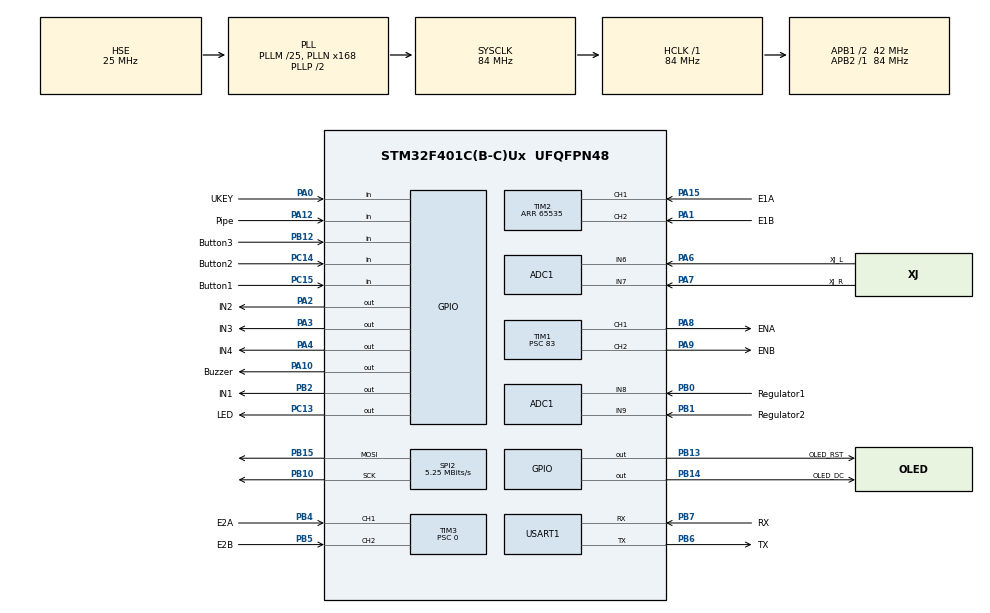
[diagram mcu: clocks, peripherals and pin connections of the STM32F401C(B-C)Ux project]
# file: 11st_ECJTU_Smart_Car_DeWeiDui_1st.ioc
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ADC1.Channel-0\#ChannelRegularConversion=ADC_CHANNEL_6
ADC1.Channel-1\#ChannelRegularConversion=ADC_CHANNEL_7
ADC1.Channel-2\#ChannelRegularConversion=ADC_CHANNEL_8
ADC1.Channel-3\#ChannelRegularConversion=ADC_CHANNEL_9
ADC1.ContinuousConvMode=ENABLE
ADC1.DMAContinuousRequests=ENABLE
ADC1.EOCSelection=ADC_EOC_SEQ_CONV
ADC1.NbrOfConversion=4
ADC1.NbrOfConversionFlag=1
ADC1.Rank-0\#ChannelRegularConversion=1
ADC1.Rank-1\#ChannelRegularConversion=2
ADC1.Rank-2\#ChannelRegularConversion=3
ADC1.Rank-3\#ChannelRegularConversion=4
ADC1.SamplingTime-0\#ChannelRegularConversion=ADC_SAMPLETIME_480CYCLES
ADC1.SamplingTime-1\#ChannelRegularConversion=ADC_SAMPLETIME_480CYCLES
ADC1.SamplingTime-2\#ChannelRegularConversion=ADC_SAMPLETIME_480CYCLES
ADC1.SamplingTime-3\#ChannelRegularConversion=ADC_SAMPLETIME_480CYCLES
ADC1.ScanConvMode=ENABLE
ADC1.master=1
Dma.ADC1.0.Direction=DMA_PERIPH_TO_MEMORY
Dma.ADC1.0.FIFOMode=DMA_FIFOMODE_DISABLE
Dma.ADC1.0.Instance=DMA2_Stream0
Dma.ADC1.0.MemDataAlignment=DMA_MDATAALIGN_WORD
Dma.ADC1.0.MemInc=DMA_MINC_ENABLE
Dma.ADC1.0.Mode=DMA_CIRCULAR
Dma.ADC1.0.PeriphDataAlignment=DMA_PDATAALIGN_WORD
Dma.ADC1.0.PeriphInc=DMA_PINC_DISABLE
Dma.ADC1.0.Priority=DMA_PRIORITY_LOW
Dma.Request0=ADC1
Dma.Request1=SPI2_TX
Dma.SPI2_TX.1.Direction=DMA_MEMORY_TO_PERIPH
Dma.SPI2_TX.1.FIFOMode=DMA_FIFOMODE_DISABLE
Dma.SPI2_TX.1.Instance=DMA1_Stream4
Dma.SPI2_TX.1.MemDataAlignment=DMA_MDATAALIGN_BYTE
Dma.SPI2_TX.1.MemInc=DMA_MINC_ENABLE
Dma.SPI2_TX.1.Mode=DMA_NORMAL
Dma.SPI2_TX.1.PeriphDataAlignment=DMA_PDATAALIGN_BYTE
Dma.SPI2_TX.1.PeriphInc=DMA_PINC_DISABLE
Dma.SPI2_TX.1.Priority=DMA_PRIORITY_LOW
Mcu.Family=STM32F4
Mcu.Name=STM32F401C(B-C)Ux
Mcu.Package=UFQFPN48
NVIC.DMA1_Stream4_IRQn=true\:0\:0\:false\:false\:true\:false\:true\:true
NVIC.DMA2_Stream0_IRQn=true\:0\:0\:false\:false\:true\:false\:true\:true
NVIC.PriorityGroup=NVIC_PRIORITYGROUP_4
NVIC.TIM2_IRQn=true\:2\:0\:true\:false\:true\:true\:true\:true
NVIC.TIM3_IRQn=true\:2\:0\:true\:false\:true\:true\:true\:true
NVIC.TIM4_IRQn=true\:1\:0\:true\:false\:true\:true\:true\:true
NVIC.TIM5_IRQn=true\:0\:0\:true\:false\:true\:true\:true\:true
PA0-WKUP.GPIO_Label=UKEY
PA0-WKUP.GPIO_PuPd=GPIO_PULLUP
PA0-WKUP.Signal=GPIO_Input
PA1.GPIO_Label=E1B
PA1.Signal=S_TIM2_CH2
PA10.GPIO_Label=Buzzer
PA10.PinState=GPIO_PIN_SET
PA10.Signal=GPIO_Output
PA12.GPIO_Label=Pipe
PA12.GPIO_PuPd=GPIO_PULLUP
PA12.Signal=GPIO_Input
PA13.Mode=Trace_Asynchronous_SW
PA13.Signal=SYS_JTMS-SWDIO
PA14.Mode=Trace_Asynchronous_SW
PA14.Signal=SYS_JTCK-SWCLK
PA15.GPIO_Label=E1A
PA15.Signal=S_TIM2_CH1_ETR
PA2.GPIO_Label=IN2
PA2.Signal=GPIO_Output
PA3.GPIO_Label=IN3
PA3.Signal=GPIO_Output
PA4.GPIO_Label=IN4
PA4.Signal=GPIO_Output
PA6.GPIO_Label=XJ_L
PA6.Signal=ADCx_IN6
PA7.GPIO_Label=XJ_R
PA7.Signal=ADCx_IN7
PA8.GPIO_Label=ENA
PA8.GPIO_Speed=GPIO_SPEED_FREQ_VERY_HIGH
PA8.Signal=S_TIM1_CH1
PA9.GPIO_Label=ENB
PA9.GPIO_Speed=GPIO_SPEED_FREQ_VERY_HIGH
PA9.Signal=S_TIM1_CH2
PB0.GPIO_Label=Regulator1
PB0.Signal=ADCx_IN8
PB1.GPIO_Label=Regulator2
PB1.Signal=ADCx_IN9
PB10.Mode=TX_Only_Simplex_Unidirect_Master
PB10.Signal=SPI2_SCK
PB12.GPIO_Label=Button3
PB12.GPIO_PuPd=GPIO_PULLDOWN
PB12.Signal=GPIO_Input
PB13.GPIO_Label=OLED_RST
PB13.PinState=GPIO_PIN_SET
PB13.Signal=GPIO_Output
PB14.GPIO_Label=OLED_DC
PB14.Signal=GPIO_Output
PB15.Mode=TX_Only_Simplex_Unidirect_Master
PB15.Signal=SPI2_MOSI
PB2.GPIO_Label=IN1
PB2.Signal=GPIO_Output
PB3.Mode=Trace_Asynchronous_SW
PB3.Signal=SYS_JTDO-SWO
PB4.GPIO_Label=E2A
PB4.Signal=S_TIM3_CH1
PB5.GPIO_Label=E2B
PB5.Signal=S_TIM3_CH2
PB6.GPIO_Label=TX
PB6.Mode=Asynchronous
PB6.Signal=USART1_TX
PB7.GPIO_Label=RX
PB7.Mode=Asynchronous
PB7.Signal=USART1_RX
PC13-ANTI_TAMP.GPIO_Label=LED
PC13-ANTI_TAMP.PinState=GPIO_PIN_SET
PC13-ANTI_TAMP.Signal=GPIO_Output
PC14-OSC32_IN.GPIO_Label=Button2
PC14-OSC32_IN.GPIO_PuPd=GPIO_PULLDOWN
PC14-OSC32_IN.Signal=GPIO_Input
PC15-OSC32_OUT.GPIO_Label=Button1
PC15-OSC32_OUT.GPIO_PuPd=GPIO_PULLDOWN
PC15-OSC32_OUT.Signal=GPIO_Input
PH0\ -\ OSC_IN.Mode=HSE-External-Oscillator
PH0\ -\ OSC_IN.Signal=RCC_OSC_IN
PH1\ -\ OSC_OUT.Mode=HSE-External-Oscillator
PH1\ -\ OSC_OUT.Signal=RCC_OSC_OUT
ProjectManager.HeapSize=0x200
ProjectManager.StackSize=0x400
ProjectManager.TargetToolchain=MDK-ARM V5.32
RCC.48MHZClocksFreq_Value=42000000
RCC.AHBFreq_Value=84000000
RCC.APB1CLKDivider=RCC_HCLK_DIV2
RCC.APB1Freq_Value=42000000
RCC.APB1TimFreq_Value=84000000
RCC.APB2Freq_Value=84000000
RCC.APB2TimFreq_Value=84000000
RCC.CortexFreq_Value=84000000
RCC.HCLKFreq_Value=84000000
RCC.HSE_VALUE=25000000
RCC.HSI_VALUE=16000000
RCC.LSE_VALUE=32768
RCC.PLLM=25
RCC.PLLN=168
RCC.PLLSourceVirtual=RCC_PLLSOURCE_HSE
RCC.SYSCLKFreq_VALUE=84000000
RCC.SYSCLKSource=RCC_SYSCLKSOURCE_PLLCLK
RCC.VCOOutputFreq_Value=168000000
SH.ADCx_IN6.0=ADC1_IN6,IN6
SH.ADCx_IN7.0=ADC1_IN7,IN7
SH.ADCx_IN8.0=ADC1_IN8,IN8
SH.ADCx_IN9.0=ADC1_IN9,IN9
SH.S_TIM1_CH1.0=TIM1_CH1,PWM Generation1 CH1
SH.S_TIM1_CH2.0=TIM1_CH2,PWM Generation2 CH2
SH.S_TIM2_CH1_ETR.0=TIM2_CH1,Encoder_Interface
SH.S_TIM2_CH2.0=TIM2_CH2,Encoder_Interface
SH.S_TIM3_CH1.0=TIM3_CH1,Encoder_Interface
SH.S_TIM3_CH2.0=TIM3_CH2,Encoder_Interface
SPI2.BaudRatePrescaler=SPI_BAUDRATEPRESCALER_8
SPI2.CalculateBaudRate=5.25 MBits/s
SPI2.Direction=SPI_DIRECTION_2LINES
SPI2.Mode=SPI_MODE_MASTER
SPI2.VirtualType=VM_MASTER
TIM1.AutoReloadPreload=TIM_AUTORELOAD_PRELOAD_ENABLE
TIM1.Channel-PWM\ Generation1\ CH1=TIM_CHANNEL_1
TIM1.Channel-PWM\ Generation2\ CH2=TIM_CHANNEL_2
TIM1.Period=999
TIM1.Prescaler=83
TIM2.AutoReloadPreload=TIM_AUTORELOAD_PRELOAD_ENABLE
TIM2.EncoderMode=TIM_ENCODERMODE_TI12
TIM2.IC1Filter=0
TIM2.IC1Prescaler=TIM_ICPSC_DIV1
TIM2.IC2Filter=0
TIM2.IC2Prescaler=TIM_ICPSC_DIV1
TIM2.Period=65535
TIM3.AutoReloadPreload=TIM_AUTORELOAD_PRELOAD_ENABLE
TIM3.Period=65535
TIM3.Prescaler=0
TIM4.AutoReloadPreload=TIM_AUTORELOAD_PRELOAD_ENABLE
TIM4.Period=99
TIM4.Prescaler=83
TIM5.AutoReloadPreload=TIM_AUTORELOAD_PRELOAD_ENABLE
TIM5.Period=999
TIM5.Prescaler=83
USART1.VirtualMode=VM_ASYNC
VP_TIM1_VS_ClockSourceINT.Mode=Internal
VP_TIM4_VS_ClockSourceINT.Mode=Internal
VP_TIM5_VS_ClockSourceINT.Mode=Internal
board=custom

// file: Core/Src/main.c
/* USER CODE BEGIN Header */
/**
  ******************************************************************************
  * @file           : main.c
  * @brief          : Main program body
  ******************************************************************************
  * @attention
  *
  * Copyright (c) 2022 STMicroelectronics.
  * All rights reserved.
  *
  * This software is licensed under terms that can be found in the LICENSE file
  * in the root directory of this software component.
  * If no LICENSE file comes with this software, it is provided AS-IS.
  *
  ******************************************************************************
  */
/* USER CODE END Header */
#include "main.h"
#include "adc.h"
#include "dma.h"
#include "spi.h"
#include "tim.h"
#include "usart.h"
#include "gpio.h"

/* USER CODE BEGIN Includes */
#include <stdio.h>
#include <stdlib.h>
#include <math.h>
#include "oled.h"	//只有一个OLED，所以片选CS管脚默认接地
/* USER CODE END Includes */

/* USER CODE BEGIN PV */
uint32_t Time_to_Stop=60000;//Car will stop 60000ms==60s after Run_Flag_Start.
float Kp = 3.98;
float Ki = 1.4;
float Kd = 0.6;
uint32_t t_ms_stop = 0;
uint16_t t_ms = 0;
uint16_t t_100us = 0;
uint16_t t_Run_Flag = 0,t_Debug_Flag = 0;
uint16_t oled_t_ms=0;
uint16_t t_500ms = 0;
int Timer = 0;			//时间
uint8_t speed = 0;		//当前PWM
short TargetSpeed = 10; //目标速度
volatile uint32_t ADC_Value[100];
uint8_t i;
uint8_t	Run_Flag=0,Run_Flag_Start=0,Debug_Flag=0,Debug_Flag_Start=0;
char buffer1[256] = {0};
char buffer2[256] = {0};
char buffer3[256] = {0};
char buffer4[256] = {0};
float XJ_L=0,XJ_R=0,Regulator1=0,Regulator2=0;
int iButtonCount_UKEY;//i代表int型变量，ButtonCount表示按键计数变量
int iButtonCount_Button1,iButtonCount_Button2,iButtonCount_Button3;
int iButtonFlag_UKEY;//i代表int型变量，ButtonFlag表示重按键标志，1代表重新按键，0为没有重新按键
int iButtonFlag_Button1,iButtonFlag_Button2,iButtonFlag_Button3,OLED_RST_Flag=1,OLED_Refresh=0;
int g_iButtonState_UKEY=0;//g是globle代表全局变量，会在其他地方引用；i代表int型变量，ButtonState表示按键标志，1代表按下，0代表松开
int g_iButtonState_Button1=0,g_iButtonState_Button2=0,g_iButtonState_Button3=0;

/* USER CODE END PV */

void SystemClock_Config(void);

/* USER CODE BEGIN 0 */
void motor_pwm(uint8_t motor,int16_t pwm);
void motor_1khz(int16_t motor_L,int16_t motor_R);

//加入以下代码,支持printf函数,而不需要选择use MicroLIB
#if 1
#pragma import(__use_no_semihosting)
//use assert() with HAL
int _ttywrch(int ch)
{
    ch=ch;
 return ch;
}
//support stdio.h
struct __FILE
{
 int handle;
};
/* FILE is typedef'd in stdio.h */
FILE __stdout;
//定义_sys_exit()以避免使用半主机模式
void _sys_exit(int x)
{
 x = x;
}
//重定义fputc函数 with HAL
int fputc(int ch, FILE *f)//重定向printf到UART
{
 HAL_UART_Transmit(&huart1, (uint8_t *)&ch, 1, 0xFFFF);
 return ch;
}
#endif

/* USER CODE END 0 */

int main(void)
{

  /* MCU Configuration--------------------------------------------------------*/

  /* Reset of all peripherals, Initializes the Flash interface and the Systick. */
  HAL_Init();

  /* Configure the system clock */
  SystemClock_Config();

  /* Initialize all configured peripherals */
  MX_GPIO_Init();
  MX_DMA_Init();
  MX_TIM1_Init();
  MX_TIM2_Init();
  MX_TIM5_Init();
  MX_USART1_UART_Init();
  MX_TIM3_Init();
  MX_ADC1_Init();
  MX_TIM4_Init();
  MX_SPI2_Init();
  /* USER CODE BEGIN 2 */
	HAL_TIM_Base_Start_IT(&htim1);//打开定时器1中断
  HAL_TIM_Base_Start_IT(&htim2);//打开定时器2中断
  HAL_TIM_Base_Start_IT(&htim3);//打开定时器3中断
  HAL_TIM_Base_Start_IT(&htim4);//打开定时器4中断
  HAL_TIM_Base_Start_IT(&htim5);//打开定时器5中断
  HAL_TIM_PWM_Start_IT(&htim1,TIM_CHANNEL_1);//打开PWM通道1中断
  HAL_TIM_PWM_Start_IT(&htim1,TIM_CHANNEL_2);//打开PWM通道2中断
  HAL_TIM_Encoder_Start(&htim2,TIM_CHANNEL_ALL);//打开编码器2捕获
  HAL_TIM_Encoder_Start(&htim3,TIM_CHANNEL_ALL);//打开编码器3捕获
  HAL_UART_Receive_DMA(&huart1,(uint8_t*)&TargetSpeed,sizeof(TargetSpeed));//开启串口DMA接收，默认DMA为循环模式，千万不要放在循环里！！
  HAL_ADC_Start_DMA(&hadc1,(uint32_t*)&ADC_Value,100);
	OLED_Init();
//	sprintf(Kp_txt, "KP:%4.2f", Kp);
//	sprintf(Ki_txt, "Ki:%4.2f", Ki);
//	sprintf(Kd_txt, "Kd:%4.2f", Kd);

  /* USER CODE END 2 */

  /* Infinite loop */
  /* USER CODE BEGIN WHILE */
  while (1)
  {
		for(i = 0,Regulator1 = 0,Regulator2 = 0,XJ_L=0,XJ_R=0;i < 60;)//100
		{
			XJ_L += ADC_Value[i++];
			XJ_R += ADC_Value[i++];
			Regulator1 += ADC_Value[i++];
			Regulator2 += ADC_Value[i++];
		}
		XJ_L /= 15;//25
		XJ_R /= 15;
		Regulator1 /= 15;
		Regulator2 /= 15;
//		sprintf(buff,"V = %f ",Regulator1/4096.0*3.3);/4.2
		OLED_Reset_key();		//定时器中断使能每按下按键触发一次为期6毫秒的复位与初始化
		if(OLED_Refresh>123)//每123ms刷新一次
		{
			sprintf(buffer1,"XJ_L = %4.2f ",XJ_L);
			sprintf(buffer2,"XJ_R = %4.2f ",XJ_R);
			sprintf(buffer3,"R1 = %4.2f ",Regulator1);
			sprintf(buffer4,"R2 = %4.2f ",Regulator2);
			OLED_Show_String(0,0,buffer1,BIG);
			OLED_Show_String(0,2,buffer2,BIG);
			OLED_Show_String(0,4,buffer3,BIG);
			OLED_Show_String(0,6,buffer4,BIG);
//			OLED_Show_String(0,0,"3.14",BIG);
        //函数中

//			OLED_Show_String(0,0,Kp_txt,BIG);
//			OLED_Show_String(0,3,Ki_txt,BIG);
//			OLED_Show_String(0,6,Kd_txt,BIG);
			OLED_Refresh=0;
		}
		if(Run_Flag_Start)
		{
			if(fabs(XJ_L-XJ_R)>=1600)
			{
				if(XJ_L>XJ_R)
				{
					motor_1khz(-500,800);
				}
				else
				{
					motor_1khz(800,-500);
				}
			}
			else if(fabs(XJ_L-XJ_R)>=1000)
			{
				if(XJ_L>XJ_R)
				{
					motor_1khz(-400,760);
				}
				else
				{
					motor_1khz(760,-400);
				}
			}
			else if(fabs(XJ_L-XJ_R)>=600)
			{
				if(XJ_L>XJ_R)
				{
					motor_1khz(0,600);
				}
				else
				{
					motor_1khz(600,0);
				}
			}
			else if(fabs(XJ_L-XJ_R)>=300)
			{
				if(XJ_L>XJ_R)
				{
					motor_1khz(150,600);
				}
				else
				{
					motor_1khz(600,150);
				}
			}
			else if(fabs(XJ_L-XJ_R)>=200)
			{
				if(XJ_L>XJ_R)
				{
					motor_1khz(300,600);
				}
				else
				{
					motor_1khz(600,300);
				}
			}
			else if(fabs(XJ_L-XJ_R)>=100)
			{
				if(XJ_L>XJ_R)
				{
					motor_1khz(450,600);
				}
				else
				{
					motor_1khz(600,450);
				}
			}
			else if(XJ_L<50&&XJ_R<50)
			{
				motor_1khz(0,0);
			}
			else
			{
				motor_1khz(880,880);
			}
			if(t_ms_stop>Time_to_Stop)
			{
				motor_1khz(0,0);
				HAL_GPIO_WritePin(Buzzer_GPIO_Port,Buzzer_Pin,GPIO_PIN_RESET);
				HAL_GPIO_TogglePin(LED_GPIO_Port,LED_Pin);
				Run_Flag=!Run_Flag;
				t_Run_Flag=0;
				motor_1khz(0,0);
				t_500ms=0;
				t_ms_stop=0;
			}
		}
		if(Debug_Flag_Start)
		{
			//motor_1khz(-400,400);

		}
		//HAL_GPIO_TogglePin(LED_GPIO_Port,LED_Pin);
		if(g_iButtonState_UKEY == 1)
	  {
		  HAL_GPIO_TogglePin(LED_GPIO_Port,LED_Pin);

		  g_iButtonState_UKEY=0;
	  }
//	  else
//	  {
//		  HAL_GPIO_WritePin(LED_GPIO_Port, LED_Pin,GPIO_PIN_SET);
//	  }
	  if(g_iButtonState_Button1 == 1)
	  {
		  HAL_GPIO_TogglePin(LED_GPIO_Port,LED_Pin);
			Run_Flag=!Run_Flag;
			t_Run_Flag=0;
		  g_iButtonState_Button1=0;
			motor_1khz(0,0);
			t_500ms=0;
	  }
		if(Run_Flag)
		{
			if(t_Run_Flag<500)
				HAL_GPIO_WritePin(Buzzer_GPIO_Port,Buzzer_Pin,GPIO_PIN_RESET);
			else if(t_Run_Flag<1000)
				HAL_GPIO_WritePin(Buzzer_GPIO_Port,Buzzer_Pin,GPIO_PIN_SET);
			else if(t_Run_Flag<1500)
				HAL_GPIO_WritePin(Buzzer_GPIO_Port,Buzzer_Pin,GPIO_PIN_RESET);
			else if(t_Run_Flag<2000)
				HAL_GPIO_WritePin(Buzzer_GPIO_Port,Buzzer_Pin,GPIO_PIN_SET);
			else if(t_Run_Flag<2500)
			{
				t_ms_stop=0;
				Run_Flag_Start=1;
				HAL_GPIO_WritePin(Buzzer_GPIO_Port,Buzzer_Pin,GPIO_PIN_RESET);
			}
			else if(t_Run_Flag<3000)
				HAL_GPIO_WritePin(Buzzer_GPIO_Port,Buzzer_Pin,GPIO_PIN_SET);
			else
			{
				t_Run_Flag=65432;
				//Run_Flag_Start=1;*************************************************************
			}
		}
		else
		{
			Run_Flag_Start=0;
			t_Run_Flag=65432;
		}
	  if(g_iButtonState_Button2 == 1)
	  {
		  HAL_GPIO_TogglePin(LED_GPIO_Port,LED_Pin);
			Debug_Flag=!Debug_Flag;
			t_Debug_Flag=0;
		  g_iButtonState_Button2=0;
			motor_1khz(0,0);
			t_500ms=0;

//		  printf("\r\n********ADC-DMA-Example********\r\n");
//		  printf("XJ_L_Value=%1.3fV\r\n",XJ_L*3.3f/4096);
//		  printf("XJ_R_Value=%1.3fV\r\n",XJ_R*3.3f/4096);
//		  printf("R1_Value=%1.3fV\r\n",Regulator1*3.3f/4096);
//		  printf("R2_Value=%1.3fV\r\n",Regulator2*3.3f/4096);
	  }
		if(Debug_Flag)
		{
			if(t_Debug_Flag<500)
				HAL_GPIO_WritePin(Buzzer_GPIO_Port,Buzzer_Pin,GPIO_PIN_RESET);
			else if(t_Debug_Flag<1000)
				HAL_GPIO_WritePin(Buzzer_GPIO_Port,Buzzer_Pin,GPIO_PIN_SET);
			else if(t_Debug_Flag<1500)
				HAL_GPIO_WritePin(Buzzer_GPIO_Port,Buzzer_Pin,GPIO_PIN_RESET);
			else if(t_Debug_Flag<2000)
				HAL_GPIO_WritePin(Buzzer_GPIO_Port,Buzzer_Pin,GPIO_PIN_SET);
			else if(t_Debug_Flag<2500)
			{
				Debug_Flag_Start=1;
				HAL_GPIO_WritePin(Buzzer_GPIO_Port,Buzzer_Pin,GPIO_PIN_RESET);
			}
			else if(t_Debug_Flag<3000)
				HAL_GPIO_WritePin(Buzzer_GPIO_Port,Buzzer_Pin,GPIO_PIN_SET);
			else
			{
				t_Debug_Flag=65432;
				Debug_Flag_Start=1;//*************************************************************
			}
		}
		else
		{
			Debug_Flag_Start=0;
			t_Debug_Flag=65432;
		}
	  if(g_iButtonState_Button3 == 1)
	  {
			OLED_RST_Flag=1;
			oled_t_ms=0;
		  g_iButtonState_Button3=0;
	  }
		if(t_100us>60000)
			t_100us=0;
    /* USER CODE END WHILE */

  }
}

void SystemClock_Config(void)
{
  RCC_OscInitTypeDef RCC_OscInitStruct = {0};
  RCC_ClkInitTypeDef RCC_ClkInitStruct = {0};

  /** Configure the main internal regulator output voltage
  */
  __HAL_RCC_PWR_CLK_ENABLE();
  __HAL_PWR_VOLTAGESCALING_CONFIG(PWR_REGULATOR_VOLTAGE_SCALE2);

  /** Initializes the RCC Oscillators according to the specified parameters
  * in the RCC_OscInitTypeDef structure.
  */
  RCC_OscInitStruct.OscillatorType = RCC_OSCILLATORTYPE_HSE;
  RCC_OscInitStruct.HSEState = RCC_HSE_ON;
  RCC_OscInitStruct.PLL.PLLState = RCC_PLL_ON;
  RCC_OscInitStruct.PLL.PLLSource = RCC_PLLSOURCE_HSE;
  RCC_OscInitStruct.PLL.PLLM = 25;
  RCC_OscInitStruct.PLL.PLLN = 168;
  RCC_OscInitStruct.PLL.PLLP = RCC_PLLP_DIV2;
  RCC_OscInitStruct.PLL.PLLQ = 4;
  if (HAL_RCC_OscConfig(&RCC_OscInitStruct) != HAL_OK)
  {
    Error_Handler();
  }

  /** Initializes the CPU, AHB and APB buses clocks
  */
  RCC_ClkInitStruct.ClockType = RCC_CLOCKTYPE_HCLK|RCC_CLOCKTYPE_SYSCLK
                              |RCC_CLOCKTYPE_PCLK1|RCC_CLOCKTYPE_PCLK2;
  RCC_ClkInitStruct.SYSCLKSource = RCC_SYSCLKSOURCE_PLLCLK;
  RCC_ClkInitStruct.AHBCLKDivider = RCC_SYSCLK_DIV1;
  RCC_ClkInitStruct.APB1CLKDivider = RCC_HCLK_DIV2;
  RCC_ClkInitStruct.APB2CLKDivider = RCC_HCLK_DIV1;

  if (HAL_RCC_ClockConfig(&RCC_ClkInitStruct, FLASH_LATENCY_2) != HAL_OK)
  {
    Error_Handler();
  }
}

/* USER CODE BEGIN 4 */
void motor_pwm(uint8_t motor,int16_t pwm){
//motor：1（左电机） 2（右电机），pwm[-1000,1000]
	if(motor == 1)
	{
		if(pwm<0)//clockwise
		{
			if(pwm<-1000)
				pwm=-1000;
			HAL_GPIO_WritePin(IN1_GPIO_Port,IN1_Pin,GPIO_PIN_RESET);
			HAL_GPIO_WritePin(IN2_GPIO_Port,IN2_Pin,GPIO_PIN_SET);
			__HAL_TIM_SetCompare(&htim1,TIM_CHANNEL_1,-pwm);
		}
		else//anticlockwise
		{
			if(pwm>1000)
				pwm=1000;
			HAL_GPIO_WritePin(IN1_GPIO_Port,IN1_Pin,GPIO_PIN_SET);
			HAL_GPIO_WritePin(IN2_GPIO_Port,IN2_Pin,GPIO_PIN_RESET);
			__HAL_TIM_SetCompare(&htim1,TIM_CHANNEL_1,pwm);
		}
	}
	else if(motor == 2)
	{
		if(pwm<0)//clockwise
		{
			if(pwm<-1000)
				pwm=-1000;
			HAL_GPIO_WritePin(IN3_GPIO_Port,IN3_Pin,GPIO_PIN_RESET);
			HAL_GPIO_WritePin(IN4_GPIO_Port,IN4_Pin,GPIO_PIN_SET);
			__HAL_TIM_SetCompare(&htim1,TIM_CHANNEL_2,-pwm);
		}
		else//anticlockwise
		{
			if(pwm>1000)
				pwm=1000;
			HAL_GPIO_WritePin(IN3_GPIO_Port,IN3_Pin,GPIO_PIN_SET);
			HAL_GPIO_WritePin(IN4_GPIO_Port,IN4_Pin,GPIO_PIN_RESET);
			__HAL_TIM_SetCompare(&htim1,TIM_CHANNEL_2,pwm);
		}
	}
}
void motor_1khz(int16_t motor_L,int16_t motor_R){
	motor_pwm(1,motor_L);
	motor_pwm(2,motor_R);
}
void HAL_TIM_PeriodElapsedCallback(TIM_HandleTypeDef *htim)
{
	/*判断当进入定时器4中断时*/
	if(htim->Instance == TIM4)
	{
		t_100us++;
	}
	/*判断当进入定时器5中断时*/
	if(htim->Instance == TIM5)
	{
		t_ms++;
		oled_t_ms++;
		t_Run_Flag++;
		t_Debug_Flag++;
		t_ms_stop++;
		OLED_Refresh++;
		if(t_ms>=500)
		{
			t_500ms++;
			t_ms=0;
			printf("hello world\n");
		}

/*******************************************************************************************************************/
		if( HAL_GPIO_ReadPin(UKEY_GPIO_Port,UKEY_Pin) == GPIO_PIN_RESET )//如果引脚检测到          低电平
		{
			iButtonCount_UKEY++; //按键按下，计数iButtonCount加1
			if(iButtonCount_UKEY>=7) //1ms中断服务函数里运行一次，iButtonCount大于等于16，即按键已稳定按下16ms
			{
				if(iButtonFlag_UKEY==0) //判断有没有重按键，1为有，0为没有
				{
					g_iButtonState_UKEY=1; //设置按键标志
					iButtonCount_UKEY=0;
					iButtonFlag_UKEY=1; //设置重按键标志
				}
				else //如果重按键，则重新计数
					iButtonCount_UKEY=0;
			}
			else //如果没有稳定按下7ms，则代表没有按下按键
				g_iButtonState_UKEY=0;
		}
		else //如果一直无检测到低电平，即一直无按键按下
		{
			iButtonCount_UKEY=0; //清零iButtonCount
			g_iButtonState_UKEY=0; //清除按键标志
			iButtonFlag_UKEY=0; //清除重按键标志
		}
		if( HAL_GPIO_ReadPin(Button1_GPIO_Port,Button1_Pin) == GPIO_PIN_SET )//如果引脚检测到          高电平
		{
			iButtonCount_Button1++; //按键按下，计数iButtonCount加1
			if(iButtonCount_Button1>=7) //1ms中断服务函数里运行一次，iButtonCount大于等于7，即按键已稳定按下7ms
			{
				if(iButtonFlag_Button1==0) //判断有没有重按键，1为有，0为没有
				{
					g_iButtonState_Button1=1; //设置按键标志
					iButtonCount_Button1=0;
					iButtonFlag_Button1=1; //设置重按键标志
				}
				else //如果重按键，则重新计数
					iButtonCount_Button1=0;
			}
			else //如果没有稳定按下7ms，则代表没有按下按键
				g_iButtonState_Button1=0;
		}
		else //如果一直无检测到低电平，即一直无按键按下
		{
			iButtonCount_Button1=0; //清零iButtonCount
			g_iButtonState_Button1=0; //清除按键标志
			iButtonFlag_Button1=0; //清除重按键标志
		}
		if( HAL_GPIO_ReadPin(Button2_GPIO_Port,Button2_Pin) == GPIO_PIN_SET )//如果引脚检测到          高电平
		{
			iButtonCount_Button2++; //按键按下，计数iButtonCount加1
			if(iButtonCount_Button2>=7) //1ms中断服务函数里运行一次，iButtonCount大于等于7，即按键已稳定按下7ms
			{
				if(iButtonFlag_Button2==0) //判断有没有重按键，1为有，0为没有
				{
					g_iButtonState_Button2=1; //设置按键标志
					iButtonCount_Button2=0;
					iButtonFlag_Button2=1; //设置重按键标志
				}
				else //如果重按键，则重新计数
					iButtonCount_Button2=0;
			}
			else //如果没有稳定按下7ms，则代表没有按下按键
				g_iButtonState_Button2=0;
		}
		else //如果一直无检测到低电平，即一直无按键按下
		{
			iButtonCount_Button2=0; //清零iButtonCount
			g_iButtonState_Button2=0; //清除按键标志
			iButtonFlag_Button2=0; //清除重按键标志
		}
		if( HAL_GPIO_ReadPin(Button3_GPIO_Port,Button3_Pin) == GPIO_PIN_SET )//如果引脚检测到          高电平
		{
			iButtonCount_Button3++; //按键按下，计数iButtonCount加1
			if(iButtonCount_Button3>=7) //1ms中断服务函数里运行一次，iButtonCount大于等于7，即按键已稳定按下7ms
			{
				if(iButtonFlag_Button3==0) //判断有没有重按键，1为有，0为没有
				{
					g_iButtonState_Button3=1; //设置按键标志
					iButtonCount_Button3=0;
					iButtonFlag_Button3=1; //设置重按键标志
				}
				else //如果重按键，则重新计数
					iButtonCount_Button3=0;
			}
			else //如果没有稳定按下7ms，则代表没有按下按键
				g_iButtonState_Button3=0;
		}
		else //如果一直无检测到低电平，即一直无按键按下
		{
			iButtonCount_Button3=0; //清零iButtonCount
			g_iButtonState_Button3=0; //清除按键标志
			iButtonFlag_Button3=0; //清除重按键标志
		}
	}
}
/* USER CODE END 4 */

void Error_Handler(void)
{
  __disable_irq();
  while (1)
  {
  }
}
